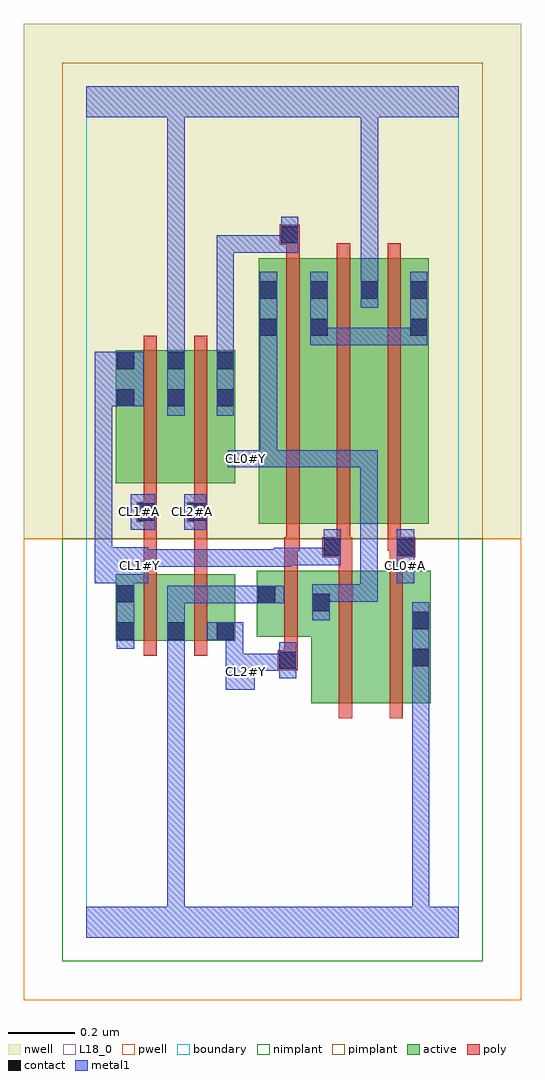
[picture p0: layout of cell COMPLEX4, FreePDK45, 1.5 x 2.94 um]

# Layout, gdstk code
import gdstk
lib = gdstk.Library(unit=1e-6, precision=1e-09)
def R(c, l, rs):  # rectangles x0, y0, x1, y1
    for r in rs: c.add(gdstk.rectangle(r[:2], r[2:], *l))
def A(c, l, x, y, w, h, nx, ny, dx, dy):  # array of equal rectangles
    R(c, l, [(x+i*dx, y+j*dy, x+i*dx+w, y+j*dy+h) for i in range(nx) for j in range(ny)])
active = (1, 0)
pwell = (2, 0)
nwell = (3, 0)
nimplant = (4, 0)
pimplant = (5, 0)
poly = (9, 0)
contact = (10, 0)
metal1 = (11, 0)
L18_0 = (18, 0)
boundary = (235, 0)

complex4 = lib.new_cell('COMPLEX4')
R(complex4, active, [(0.676,0.704,0.856,1.104), (0.676,0.704,0.736,1.104), (0.856,0.704,1.036,1.104), (0.976,0.756,1.036,1.104), (0.088,0.892,0.148,1.092), (0.088,0.892,0.3,1.092), (0.24,0.892,0.448,1.092), (0.24,0.892,0.3,0.952), (0.388,0.892,0.448,1.092), (0.512,0.904,0.736,1.104), (0.512,0.904,0.572,1.104), (0.518,1.244,0.578,2.044), (0.518,1.244,0.73,2.044), (0.67,1.244,0.882,2.044), (0.822,1.244,1.03,2.044), (0.97,1.244,1.03,2.044), (0.088,1.366,0.148,1.766), (0.088,1.366,0.3,1.766), (0.24,1.366,0.3,1.766), (0.24,1.366,0.448,1.766), (0.388,1.366,0.448,1.766), (0.67,1.686,0.73,2.044), (0.822,1.686,0.882,2.044)])
R(complex4, pwell, [(-0.188,-0.188,1.308,1.2)])
R(complex4, nwell, [(-0.188,1.2,1.308,2.748)])
R(complex4, nimplant, [(-0.072,-0.072,1.192,1.2)])
R(complex4, pimplant, [(-0.072,1.2,1.192,2.632)])
A(complex4, poly, 0.602, 1.164, 0.04, 0.076, 3, 1, 0.152, 0)
A(complex4, poly, 0.602, 1.2, 0.04, 0.888, 3, 1, 0.152, 0)
R(complex4, poly, [(0.76,0.66,0.8,1.148), (0.912,0.66,0.952,1.148), (0.576,0.804,0.636,0.864), (0.596,0.824,0.636,0.9), (0.172,0.848,0.212,1.136), (0.324,0.848,0.364,1.136), (0.596,0.86,0.636,1.148), (0.172,1.096,0.212,1.29), (0.324,1.096,0.364,1.29), (0.596,1.108,0.636,1.204), (0.76,1.108,0.8,1.184), (0.912,1.108,0.952,1.184), (0.71,1.144,0.8,1.204), (0.912,1.144,0.99,1.204), (0.596,1.164,0.642,1.204), (0.602,1.164,0.642,1.204), (0.602,1.164,0.642,1.204), (0.754,1.164,0.794,1.204), (0.754,1.164,0.794,1.204), (0.906,1.164,0.952,1.204), (0.912,1.164,0.952,1.204), (0.152,1.25,0.212,1.31), (0.172,1.25,0.212,1.29), (0.172,1.25,0.212,1.29), (0.304,1.25,0.364,1.31), (0.324,1.25,0.364,1.29), (0.324,1.25,0.364,1.29), (0.172,1.27,0.212,1.362), (0.324,1.27,0.364,1.362), (0.172,1.322,0.212,1.81), (0.324,1.322,0.364,1.81), (0.602,2.048,0.642,2.124), (0.582,2.084,0.642,2.144)])
A(complex4, contact, 0.522, 1.922, 0.052, 0.052, 3, 1, 0.152, 0)
R(complex4, contact, [(0.58,0.808,0.632,0.86), (0.98,0.816,1.032,0.868), (0.092,0.896,0.144,0.948), (0.244,0.896,0.296,0.948), (0.392,0.896,0.444,0.948), (0.98,0.928,1.032,0.98), (0.68,0.982,0.732,1.034), (0.516,1.006,0.568,1.058), (0.092,1.008,0.144,1.06), (0.714,1.148,0.766,1.2), (0.934,1.148,0.986,1.2), (0.156,1.254,0.208,1.306), (0.308,1.254,0.36,1.306), (0.092,1.598,0.144,1.65), (0.244,1.598,0.296,1.65), (0.392,1.598,0.444,1.65), (0.092,1.71,0.144,1.762), (0.244,1.71,0.296,1.762), (0.392,1.71,0.444,1.762), (0.522,1.81,0.574,1.862), (0.674,1.81,0.726,1.862), (0.974,1.81,1.026,1.862), (0.974,1.922,1.026,1.974), (0.586,2.088,0.638,2.14)])
A(complex4, metal1, 0.674, 1.782, 0.052, 0.052, 3, 1, 0.15, 0)
R(complex4, metal1, [(0,0,1.12,0.092), (0.244,0.04,0.296,0.092), (0.244,0.04,0.296,0.092), (0.244,0.04,0.296,0.092), (0.244,0.04,0.296,0.092), (0.244,0.04,0.296,0.092), (0.244,0.04,0.296,0.092), (0.244,0.04,0.296,0.092), (0.244,0.04,0.296,0.092), (0.244,0.04,0.296,0.092), (0.244,0.04,0.296,0.092), (0.244,0.04,0.296,0.92), (0.98,0.04,1.032,0.84), (0.42,0.746,0.506,0.854), (0.58,0.78,0.632,0.888), (0.98,0.788,1.032,0.84), (0.98,0.788,1.032,0.84), (0.98,0.788,1.032,0.84), (0.98,0.788,1.032,0.84), (0.98,0.788,1.032,0.84), (0.98,0.788,1.032,0.84), (0.98,0.788,1.032,0.84), (0.98,0.788,1.032,0.84), (0.98,0.788,1.032,0.84), (0.98,0.788,1.032,0.84), (0.98,0.788,1.032,0.84), (0.98,0.788,1.032,0.84), (0.98,0.788,1.032,1.008), (0.42,0.802,0.472,0.948), (0.454,0.802,0.506,0.854), (0.454,0.802,0.506,0.854), (0.454,0.802,0.632,0.854), (0.092,0.868,0.144,1.088), (0.244,0.868,0.296,0.92), (0.244,0.868,0.296,0.92), (0.244,0.868,0.296,0.92), (0.244,0.868,0.296,0.92), (0.244,0.868,0.296,0.92), (0.244,0.868,0.296,0.92), (0.244,0.868,0.296,0.976), (0.364,0.896,0.472,0.948), (0.244,0.924,0.296,1.058), (0.68,0.954,0.732,1.062), (0.244,1.006,0.296,1.058), (0.244,1.006,0.296,1.058), (0.244,1.006,0.296,1.058), (0.244,1.006,0.406,1.058), (0.354,1.006,0.406,1.058), (0.354,1.006,0.54,1.058), (0.488,1.006,0.596,1.058), (0.68,1.01,0.876,1.062), (0.824,1.01,0.876,1.062), (0.824,1.01,0.876,1.062), (0.824,1.01,0.876,1.062), (0.824,1.01,0.876,1.062), (0.824,1.01,0.876,1.062), (0.824,1.01,0.876,1.466), (0.092,1.036,0.144,1.118), (0.026,1.066,0.186,1.174), (0.934,1.066,0.986,1.228), (0.134,1.116,0.186,1.168), (0.134,1.116,0.186,1.168), (0.134,1.116,0.296,1.168), (0.244,1.116,0.296,1.168), (0.244,1.116,0.296,1.168), (0.244,1.116,0.296,1.168), (0.244,1.116,0.506,1.168), (0.454,1.116,0.506,1.168), (0.454,1.116,0.506,1.168), (0.454,1.116,0.506,1.168), (0.454,1.116,0.616,1.168), (0.564,1.116,0.616,1.172), (0.564,1.12,0.684,1.172), (0.632,1.12,0.684,1.172), (0.632,1.12,0.766,1.172), (0.714,1.12,0.766,1.228), (0.026,1.122,0.078,1.65), (0.134,1.226,0.208,1.334), (0.294,1.226,0.36,1.334), (0.426,1.414,0.574,1.466), (0.522,1.414,0.616,1.466), (0.522,1.414,0.574,1.834), (0.564,1.414,0.616,1.466), (0.564,1.414,0.766,1.466), (0.714,1.414,0.766,1.466), (0.714,1.414,0.766,1.466), (0.714,1.414,0.766,1.466), (0.714,1.414,0.876,1.466), (0.824,1.414,0.876,1.466), (0.244,1.57,0.296,1.79), (0.392,1.57,0.444,1.79), (0.026,1.598,0.078,1.65), (0.026,1.598,0.078,1.65), (0.026,1.598,0.172,1.762), (0.244,1.738,0.296,1.79), (0.244,1.738,0.296,1.79), (0.244,1.738,0.296,1.79), (0.244,1.738,0.296,1.79), (0.244,1.738,0.296,1.79), (0.244,1.738,0.296,1.79), (0.244,1.738,0.296,1.79), (0.244,1.738,0.296,1.79), (0.244,1.738,0.296,1.79), (0.244,1.738,0.296,1.79), (0.244,1.738,0.296,1.79), (0.244,1.738,0.296,1.79), (0.244,1.738,0.296,2.52), (0.392,1.738,0.444,2.112), (0.522,1.782,0.574,2.002), (0.674,1.782,0.726,1.834), (0.674,1.782,0.726,2.002), (0.674,1.782,0.876,1.834), (0.824,1.782,1.026,1.834), (0.974,1.782,1.026,1.834), (0.974,1.782,1.026,2.002), (0.826,1.894,0.878,2.002), (0.826,1.95,0.878,2.002), (0.826,1.95,0.878,2.002), (0.826,1.95,0.878,2.002), (0.826,1.95,0.878,2.002), (0.826,1.95,0.878,2.002), (0.826,1.95,0.878,2.002), (0.826,1.95,0.878,2.002), (0.826,1.95,0.878,2.002), (0.826,1.95,0.878,2.52), (0.392,2.06,0.444,2.112), (0.392,2.06,0.444,2.112), (0.392,2.06,0.444,2.112), (0.392,2.06,0.444,2.112), (0.392,2.06,0.444,2.112), (0.392,2.06,0.444,2.112), (0.392,2.06,0.444,2.112), (0.392,2.06,0.444,2.112), (0.392,2.06,0.444,2.112), (0.392,2.06,0.444,2.112), (0.392,2.06,0.444,2.112), (0.392,2.06,0.638,2.112), (0.586,2.06,0.638,2.168), (0,2.468,1.12,2.56), (0.244,2.468,0.296,2.52), (0.244,2.468,0.296,2.52), (0.244,2.468,0.296,2.52), (0.244,2.468,0.296,2.52)])
R(complex4, L18_0, [(0,0,1.12,0.092), (0.244,0.04,0.296,0.092), (0.244,0.04,0.296,0.092), (0.244,0.04,0.296,0.092), (0.244,0.04,0.296,0.092), (0.244,0.04,0.296,0.092), (0.244,0.04,0.296,0.092), (0.244,0.04,0.296,0.092), (0.244,0.04,0.296,0.092), (0.244,0.04,0.296,0.092), (0.244,0.04,0.296,0.092), (0.244,0.04,0.296,0.92), (0.98,0.04,1.032,0.84), (0.42,0.746,0.506,0.854), (0.454,0.774,0.506,0.826), (0.58,0.78,0.632,0.888), (0.98,0.788,1.032,1.008), (0.98,0.788,1.032,0.84), (0.98,0.788,1.032,0.84), (0.98,0.788,1.032,0.84), (0.98,0.788,1.032,0.84), (0.98,0.788,1.032,0.84), (0.98,0.788,1.032,0.84), (0.98,0.788,1.032,0.84), (0.98,0.788,1.032,0.84), (0.98,0.788,1.032,0.84), (0.98,0.788,1.032,0.84), (0.98,0.788,1.032,0.84), (0.98,0.788,1.032,0.84), (0.42,0.802,0.472,0.948), (0.454,0.802,0.506,0.854), (0.454,0.802,0.506,0.854), (0.454,0.802,0.632,0.854), (0.092,0.868,0.144,1.088), (0.244,0.868,0.296,0.92), (0.244,0.868,0.296,0.92), (0.244,0.868,0.296,0.92), (0.244,0.868,0.296,0.92), (0.244,0.868,0.296,0.92), (0.244,0.868,0.296,0.92), (0.244,0.868,0.296,0.976), (0.364,0.896,0.472,0.948), (0.244,0.924,0.296,1.058), (0.68,0.954,0.732,1.062), (0.244,1.006,0.296,1.058), (0.244,1.006,0.296,1.058), (0.244,1.006,0.296,1.058), (0.244,1.006,0.406,1.058), (0.354,1.006,0.406,1.058), (0.354,1.006,0.54,1.058), (0.488,1.006,0.596,1.058), (0.68,1.01,0.876,1.062), (0.824,1.01,0.876,1.062), (0.824,1.01,0.876,1.062), (0.824,1.01,0.876,1.062), (0.824,1.01,0.876,1.062), (0.824,1.01,0.876,1.062), (0.824,1.01,0.876,1.466), (0.092,1.036,0.144,1.118), (0.026,1.066,0.186,1.174), (0.934,1.066,0.986,1.228), (0.134,1.094,0.186,1.146), (0.934,1.094,0.986,1.146), (0.134,1.116,0.186,1.168), (0.134,1.116,0.186,1.168), (0.134,1.116,0.296,1.168), (0.244,1.116,0.296,1.168), (0.244,1.116,0.296,1.168), (0.244,1.116,0.296,1.168), (0.244,1.116,0.506,1.168), (0.454,1.116,0.506,1.168), (0.454,1.116,0.506,1.168), (0.454,1.116,0.506,1.168), (0.454,1.116,0.616,1.168), (0.564,1.116,0.616,1.172), (0.564,1.12,0.684,1.172), (0.632,1.12,0.684,1.172), (0.632,1.12,0.766,1.172), (0.714,1.12,0.766,1.228), (0.026,1.122,0.078,1.65), (0.134,1.226,0.208,1.334), (0.294,1.226,0.36,1.334), (0.134,1.254,0.186,1.306), (0.294,1.254,0.346,1.306), (0.426,1.414,0.574,1.466), (0.454,1.414,0.506,1.466), (0.522,1.414,0.574,1.834), (0.522,1.414,0.616,1.466), (0.564,1.414,0.616,1.466), (0.564,1.414,0.766,1.466), (0.714,1.414,0.766,1.466), (0.714,1.414,0.766,1.466), (0.714,1.414,0.766,1.466), (0.714,1.414,0.876,1.466), (0.824,1.414,0.876,1.466), (0.244,1.57,0.296,1.79), (0.392,1.57,0.444,1.79), (0.026,1.598,0.078,1.65), (0.026,1.598,0.078,1.65), (0.026,1.598,0.172,1.762), (0.244,1.738,0.296,1.79), (0.244,1.738,0.296,1.79), (0.244,1.738,0.296,1.79), (0.244,1.738,0.296,1.79), (0.244,1.738,0.296,1.79), (0.244,1.738,0.296,1.79), (0.244,1.738,0.296,1.79), (0.244,1.738,0.296,1.79), (0.244,1.738,0.296,1.79), (0.244,1.738,0.296,1.79), (0.244,1.738,0.296,1.79), (0.244,1.738,0.296,1.79), (0.244,1.738,0.296,2.52), (0.392,1.738,0.444,2.112), (0.522,1.782,0.574,2.002), (0.826,1.894,0.878,2.002), (0.826,1.95,0.878,2.002), (0.826,1.95,0.878,2.002), (0.826,1.95,0.878,2.002), (0.826,1.95,0.878,2.002), (0.826,1.95,0.878,2.002), (0.826,1.95,0.878,2.002), (0.826,1.95,0.878,2.002), (0.826,1.95,0.878,2.002), (0.826,1.95,0.878,2.52), (0.392,2.06,0.444,2.112), (0.392,2.06,0.444,2.112), (0.392,2.06,0.444,2.112), (0.392,2.06,0.444,2.112), (0.392,2.06,0.444,2.112), (0.392,2.06,0.444,2.112), (0.392,2.06,0.444,2.112), (0.392,2.06,0.444,2.112), (0.392,2.06,0.444,2.112), (0.392,2.06,0.444,2.112), (0.392,2.06,0.444,2.112), (0.392,2.06,0.638,2.112), (0.586,2.06,0.638,2.168), (0,2.468,1.12,2.56), (0.244,2.468,0.296,2.52), (0.244,2.468,0.296,2.52), (0.244,2.468,0.296,2.52), (0.244,2.468,0.296,2.52)])
R(complex4, boundary, [(0,0,1.12,2.56)])
complex4.add(gdstk.Label('CL0#A', (0.96,1.12), layer=11, texttype=0))
complex4.add(gdstk.Label('CL0#Y', (0.48,1.44), layer=11, texttype=0))
complex4.add(gdstk.Label('CL1#A', (0.16,1.28), layer=11, texttype=0))
complex4.add(gdstk.Label('CL1#Y', (0.16,1.12), layer=11, texttype=0))
complex4.add(gdstk.Label('CL2#A', (0.32,1.28), layer=11, texttype=0))
complex4.add(gdstk.Label('CL2#Y', (0.48,0.8), layer=11, texttype=0))

lib.write_gds('COMPLEX4.gds')
